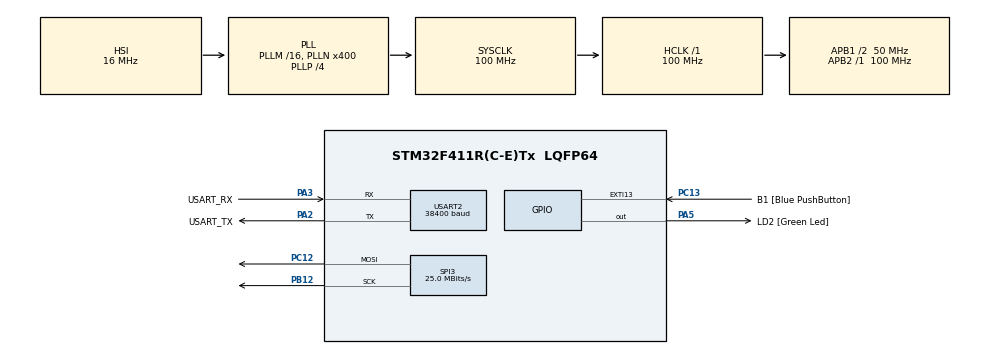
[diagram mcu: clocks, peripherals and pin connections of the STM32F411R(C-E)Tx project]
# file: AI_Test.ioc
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Mcu.Family=STM32F4
Mcu.Name=STM32F411R(C-E)Tx
Mcu.Package=LQFP64
NVIC.PriorityGroup=NVIC_PRIORITYGROUP_0
NVIC.USART2_IRQn=true\:0\:0\:false\:false\:true\:true
PA13.GPIO_Label=TMS
PA13.Mode=Serial_Wire
PA13.Signal=SYS_JTMS-SWDIO
PA14.GPIO_Label=TCK
PA14.Mode=Serial_Wire
PA14.Signal=SYS_JTCK-SWCLK
PA2.GPIO_Label=USART_TX
PA2.Mode=Asynchronous
PA2.Signal=USART2_TX
PA3.GPIO_Label=USART_RX
PA3.Mode=Asynchronous
PA3.Signal=USART2_RX
PA5.GPIO_Label=LD2 [Green Led]
PA5.Signal=GPIO_Output
PB12.Mode=TX_Only_Simplex_Unidirect_Master
PB12.Signal=SPI3_SCK
PB3.GPIO_Label=SWO
PB3.Signal=SYS_JTDO-SWO
PC12.Mode=TX_Only_Simplex_Unidirect_Master
PC12.Signal=SPI3_MOSI
PC13-ANTI_TAMP.GPIO_Label=B1 [Blue PushButton]
PC13-ANTI_TAMP.GPIO_ModeDefaultEXTI=GPIO_MODE_IT_FALLING
PC13-ANTI_TAMP.Signal=GPXTI13
PC14-OSC32_IN.Mode=LSE-External-Oscillator
PC14-OSC32_IN.Signal=RCC_OSC32_IN
PC15-OSC32_OUT.Mode=LSE-External-Oscillator
PC15-OSC32_OUT.Signal=RCC_OSC32_OUT
PH0\ -\ OSC_IN.Mode=HSE-External-Clock-Source
PH0\ -\ OSC_IN.Signal=RCC_OSC_IN
PH1\ -\ OSC_OUT.Mode=HSE-External-Clock-Source
PH1\ -\ OSC_OUT.Signal=RCC_OSC_OUT
ProjectManager.HeapSize=0x200
ProjectManager.StackSize=0x400
ProjectManager.TargetToolchain=SW4STM32
RCC.48MHZClocksFreq_Value=100000000
RCC.AHBFreq_Value=100000000
RCC.APB1CLKDivider=RCC_HCLK_DIV2
RCC.APB1Freq_Value=50000000
RCC.APB1TimFreq_Value=100000000
RCC.APB2Freq_Value=100000000
RCC.APB2TimFreq_Value=100000000
RCC.CortexFreq_Value=100000000
RCC.FLatency-AdvancedSettings=FLASH_LATENCY_3
RCC.HCLKFreq_Value=100000000
RCC.HSE_VALUE=8000000
RCC.HSI_VALUE=16000000
RCC.PLLN=400
RCC.PLLP=RCC_PLLP_DIV4
RCC.SYSCLKFreq_VALUE=100000000
RCC.SYSCLKSource=RCC_SYSCLKSOURCE_PLLCLK
RCC.VCOOutputFreq_Value=400000000
SPI3.CalculateBaudRate=25.0 MBits/s
SPI3.Direction=SPI_DIRECTION_2LINES
SPI3.Mode=SPI_MODE_MASTER
SPI3.VirtualType=VM_MASTER
USART2.BaudRate=38400
USART2.VirtualMode=VM_ASYNC
board=NUCLEO-F411RE

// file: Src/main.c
/* USER CODE BEGIN Header */
/*   MIT License
*
*    Copyright (c) 2019 Timothy Pansino, Adam Behnke, Zachary Neumann, Mitchell Keeney
*
*    Permission is hereby granted, free of charge, to any person obtaining a copy
*    of this software and associated documentation files (the "Software"), to deal
*    in the Software without restriction, including without limitation the rights
*    to use, copy, modify, merge, publish, distribute, sublicense, and/or sell
*    copies of the Software, and to permit persons to whom the Software is
*    furnished to do so, subject to the following conditions:
*
*    The above copyright notice and this permission notice shall be included in all
*    copies or substantial portions of the Software.
*
*    THE SOFTWARE IS PROVIDED "AS IS", WITHOUT WARRANTY OF ANY KIND, EXPRESS OR
*    IMPLIED, INCLUDING BUT NOT LIMITED TO THE WARRANTIES OF MERCHANTABILITY,
*    FITNESS FOR A PARTICULAR PURPOSE AND NONINFRINGEMENT. IN NO EVENT SHALL THE
*    AUTHORS OR COPYRIGHT HOLDERS BE LIABLE FOR ANY CLAIM, DAMAGES OR OTHER
*    LIABILITY, WHETHER IN AN ACTION OF CONTRACT, TORT OR OTHERWISE, ARISING FROM,
*    OUT OF OR IN CONNECTION WITH THE SOFTWARE OR THE USE OR OTHER DEALINGS IN THE
*    SOFTWARE.
*/
/**
  ******************************************************************************
  * @file           : main.c
  * @brief          : Main program body
  ******************************************************************************
  ** This notice applies to any and all portions of this file
  * that are not between comment pairs USER CODE BEGIN and
  * USER CODE END. Other portions of this file, whether
  * inserted by the user or by software development tools
  * are owned by their respective copyright owners.
  *
  * COPYRIGHT(c) 2019 STMicroelectronics
  *
  * Redistribution and use in source and binary forms, with or without modification,
  * are permitted provided that the following conditions are met:
  *   1. Redistributions of source code must retain the above copyright notice,
  *      this list of conditions and the following disclaimer.
  *   2. Redistributions in binary form must reproduce the above copyright notice,
  *      this list of conditions and the following disclaimer in the documentation
  *      and/or other materials provided with the distribution.
  *   3. Neither the name of STMicroelectronics nor the names of its contributors
  *      may be used to endorse or promote products derived from this software
  *      without specific prior written permission.
  *
  * THIS SOFTWARE IS PROVIDED BY THE COPYRIGHT HOLDERS AND CONTRIBUTORS "AS IS"
  * AND ANY EXPRESS OR IMPLIED WARRANTIES, INCLUDING, BUT NOT LIMITED TO, THE
  * IMPLIED WARRANTIES OF MERCHANTABILITY AND FITNESS FOR A PARTICULAR PURPOSE ARE
  * DISCLAIMED. IN NO EVENT SHALL THE COPYRIGHT HOLDER OR CONTRIBUTORS BE LIABLE
  * FOR ANY DIRECT, INDIRECT, INCIDENTAL, SPECIAL, EXEMPLARY, OR CONSEQUENTIAL
  * DAMAGES (INCLUDING, BUT NOT LIMITED TO, PROCUREMENT OF SUBSTITUTE GOODS OR
  * SERVICES; LOSS OF USE, DATA, OR PROFITS; OR BUSINESS INTERRUPTION) HOWEVER
  * CAUSED AND ON ANY THEORY OF LIABILITY, WHETHER IN CONTRACT, STRICT LIABILITY,
  * OR TORT (INCLUDING NEGLIGENCE OR OTHERWISE) ARISING IN ANY WAY OUT OF THE USE
  * OF THIS SOFTWARE, EVEN IF ADVISED OF THE POSSIBILITY OF SUCH DAMAGE.
  *
  ******************************************************************************
  */
/* USER CODE END Header */

#include "main.h"

/* USER CODE BEGIN Includes */
#include <string.h>
#include "ai.h"
#include "drivers.h"
#include "defs.h"
#include "protos.h"
#include "data.h"

/* USER CODE END Includes */

SPI_HandleTypeDef hspi3;

UART_HandleTypeDef huart2;

/* USER CODE BEGIN PV */
char receiveBuffer[100];
char transmitBuffer[100];
char s[100];

int newlineStr = NEWLINE_STR;
int backSpace = BACKSPACE_STR;

/* Used to store data received from the UART */
uint8_t receivedData = 0;

/* Current Location in receiveBuffer */
int currentLocation = 0;

/* Flag signaling completed reception of line of text */
int dataReceivedFlag = 0;
/* USER CODE END PV */

void SystemClock_Config(void);
static void MX_GPIO_Init(void);
static void MX_USART2_UART_Init(void);
static void MX_SPI3_Init(void);
/* USER CODE BEGIN PFP */
//static void write_LCD_msg(char lcd_upr[], char lcd_low[]);
//static void write_LCD_instr(uint8_t * instru);
void HAL_UART_RxCpltCallback(UART_HandleTypeDef * huart);
char * receiveString(void);
void transmitString(char *);
/* USER CODE END PFP */

int main(void)
{

  /* MCU Configuration--------------------------------------------------------*/

  /* Reset of all peripherals, Initializes the Flash interface and the Systick. */
  HAL_Init();

  /* Configure the system clock */
  SystemClock_Config();

  /* Initialize all configured peripherals */
  MX_GPIO_Init();
  MX_USART2_UART_Init();
  MX_SPI3_Init();
  /* USER CODE BEGIN 2 */
  char send_xboard_msg[16];

  Print(CLEAR_TERMINAL);
  Print("UART Init\n");

  aiInit(LIGHT);

  /* USER CODE END 2 */

  /* Infinite loop */
  /* USER CODE BEGIN WHILE */
  while (1)
  {
	  s[0] = '\0';
	  aiMakeMove(s);
	  if (strlen(s) > 0) {
		  Print("AI Move: %s\n", s);
	  }

      Print(">");
      Scan(send_xboard_msg);
      HAL_GPIO_TogglePin (LD2_GPIO_Port, LD2_Pin);
      aiParseCommand(send_xboard_msg);
  }
    /* USER CODE END WHILE */

}

void SystemClock_Config(void)
{
  RCC_OscInitTypeDef RCC_OscInitStruct = {0};
  RCC_ClkInitTypeDef RCC_ClkInitStruct = {0};

  /**Configure the main internal regulator output voltage
  */
  __HAL_RCC_PWR_CLK_ENABLE();
  __HAL_PWR_VOLTAGESCALING_CONFIG(PWR_REGULATOR_VOLTAGE_SCALE1);
  /**Initializes the CPU, AHB and APB busses clocks
  */
  RCC_OscInitStruct.OscillatorType = RCC_OSCILLATORTYPE_HSI;
  RCC_OscInitStruct.HSIState = RCC_HSI_ON;
  RCC_OscInitStruct.HSICalibrationValue = RCC_HSICALIBRATION_DEFAULT;
  RCC_OscInitStruct.PLL.PLLState = RCC_PLL_ON;
  RCC_OscInitStruct.PLL.PLLSource = RCC_PLLSOURCE_HSI;
  RCC_OscInitStruct.PLL.PLLM = 16;
  RCC_OscInitStruct.PLL.PLLN = 400;
  RCC_OscInitStruct.PLL.PLLP = RCC_PLLP_DIV4;
  RCC_OscInitStruct.PLL.PLLQ = 4;
  if (HAL_RCC_OscConfig(&RCC_OscInitStruct) != HAL_OK)
  {
    Error_Handler();
  }
  /**Initializes the CPU, AHB and APB busses clocks
  */
  RCC_ClkInitStruct.ClockType = RCC_CLOCKTYPE_HCLK|RCC_CLOCKTYPE_SYSCLK
                              |RCC_CLOCKTYPE_PCLK1|RCC_CLOCKTYPE_PCLK2;
  RCC_ClkInitStruct.SYSCLKSource = RCC_SYSCLKSOURCE_PLLCLK;
  RCC_ClkInitStruct.AHBCLKDivider = RCC_SYSCLK_DIV1;
  RCC_ClkInitStruct.APB1CLKDivider = RCC_HCLK_DIV2;
  RCC_ClkInitStruct.APB2CLKDivider = RCC_HCLK_DIV1;

  if (HAL_RCC_ClockConfig(&RCC_ClkInitStruct, FLASH_LATENCY_3) != HAL_OK)
  {
    Error_Handler();
  }
}

static void MX_SPI3_Init(void)
{

  /* SPI3 parameter configuration*/
  hspi3.Instance = SPI3;
  hspi3.Init.Mode = SPI_MODE_MASTER;
  hspi3.Init.Direction = SPI_DIRECTION_2LINES;
  hspi3.Init.DataSize = SPI_DATASIZE_8BIT;
  hspi3.Init.CLKPolarity = SPI_POLARITY_LOW;
  hspi3.Init.CLKPhase = SPI_PHASE_1EDGE;
  hspi3.Init.NSS = SPI_NSS_SOFT;
  hspi3.Init.BaudRatePrescaler = SPI_BAUDRATEPRESCALER_2;
  hspi3.Init.FirstBit = SPI_FIRSTBIT_MSB;
  hspi3.Init.TIMode = SPI_TIMODE_DISABLE;
  hspi3.Init.CRCCalculation = SPI_CRCCALCULATION_DISABLE;
  hspi3.Init.CRCPolynomial = 10;
  if (HAL_SPI_Init(&hspi3) != HAL_OK)
  {
    Error_Handler();
  }

}

static void MX_USART2_UART_Init(void)
{

  huart2.Instance = USART2;
  huart2.Init.BaudRate = 38400;
  huart2.Init.WordLength = UART_WORDLENGTH_8B;
  huart2.Init.StopBits = UART_STOPBITS_1;
  huart2.Init.Parity = UART_PARITY_NONE;
  huart2.Init.Mode = UART_MODE_TX_RX;
  huart2.Init.HwFlowCtl = UART_HWCONTROL_NONE;
  huart2.Init.OverSampling = UART_OVERSAMPLING_16;
  if (HAL_UART_Init(&huart2) != HAL_OK)
  {
    Error_Handler();
  }

}

static void MX_GPIO_Init(void)
{
  GPIO_InitTypeDef GPIO_InitStruct = {0};

  /* GPIO Ports Clock Enable */
  __HAL_RCC_GPIOC_CLK_ENABLE();
  __HAL_RCC_GPIOH_CLK_ENABLE();
  __HAL_RCC_GPIOA_CLK_ENABLE();
  __HAL_RCC_GPIOB_CLK_ENABLE();

  /*Configure GPIO pin Output Level */
  HAL_GPIO_WritePin(LD2_GPIO_Port, LD2_Pin, GPIO_PIN_RESET);

  /*Configure GPIO pin : B1_Pin */
  GPIO_InitStruct.Pin = B1_Pin;
  GPIO_InitStruct.Mode = GPIO_MODE_IT_FALLING;
  GPIO_InitStruct.Pull = GPIO_NOPULL;
  HAL_GPIO_Init(B1_GPIO_Port, &GPIO_InitStruct);

  /*Configure GPIO pin : LD2_Pin */
  GPIO_InitStruct.Pin = LD2_Pin;
  GPIO_InitStruct.Mode = GPIO_MODE_OUTPUT_PP;
  GPIO_InitStruct.Pull = GPIO_NOPULL;
  GPIO_InitStruct.Speed = GPIO_SPEED_FREQ_LOW;
  HAL_GPIO_Init(LD2_GPIO_Port, &GPIO_InitStruct);

}

/* USER CODE BEGIN 4 */

/*
static void write_LCD_msg(char lcd_upr[], char lcd_low[])
{
    uint8_t loc_instru = CURMOV;
    write_LCD_instr(&loc_instru);
    loc_instru = LINE1;
    write_LCD_instr(&loc_instru);
    HAL_GPIO_WritePin (GPIOC, rs_Pin, GPIO_PIN_SET);

    uint8_t x = lcd_upr[0];
    int count = 0;
    while(x != '\0')
    {
        HAL_SPI_Transmit (&hspi3, (uint8_t) &lcd_upr[count], 1, TIMEOUT);
        while(HAL_SPI_GetState(&hspi3) != HAL_SPI_STATE_READY)
            ;
        HAL_GPIO_WritePin (GPIOC, lcd_en_Pin, GPIO_PIN_SET);
        HAL_Delay(1);
        HAL_GPIO_WritePin (GPIOC, lcd_en_Pin, GPIO_PIN_RESET);
        count++;
        x = lcd_upr[count];
    }
    loc_instru = CURMOV;
    write_LCD_instr(&loc_instru);
    loc_instru = LINE2;
    write_LCD_instr(&loc_instru);
    HAL_GPIO_WritePin (GPIOC, rs_Pin, GPIO_PIN_SET);

    x = lcd_low[0];
    count = 0;
    while(x != '\0')
    {
        HAL_SPI_Transmit (&hspi3, (uint8_t) &lcd_upr[count], 1, TIMEOUT);
        while(HAL_SPI_GetState(&hspi3) != HAL_SPI_STATE_READY)
            ;
        HAL_GPIO_WritePin (GPIOC, lcd_en_Pin, GPIO_PIN_RESET);
        HAL_GPIO_WritePin (GPIOC, lcd_en_Pin, GPIO_PIN_SET);
        HAL_Delay(1);
        HAL_GPIO_WritePin (GPIOC, lcd_en_Pin, GPIO_PIN_RESET);
        count++;
        x = lcd_low[count];
    }
}

static void write_LCD_instr(uint8_t * instru)
{
    HAL_GPIO_WritePin (GPIOC, rs_Pin, GPIO_PIN_RESET);
    HAL_SPI_Transmit (&hspi3, instru, 1, TIMEOUT);
    while(HAL_SPI_GetState(&hspi3) != HAL_SPI_STATE_READY)
        ;
    HAL_GPIO_WritePin (GPIOC, lcd_en_Pin, GPIO_PIN_RESET);
    HAL_GPIO_WritePin (GPIOC, lcd_en_Pin, GPIO_PIN_SET);
    HAL_Delay(1);
    HAL_GPIO_WritePin (GPIOC, lcd_en_Pin, GPIO_PIN_RESET);
}
*/

void HAL_UART_RxCpltCallback(UART_HandleTypeDef * huart)
{
    /* Move data into buffer */
    receiveBuffer[currentLocation] = receivedData;

    /* Variable to keep track of location in buffer */
    if (((char)receiveBuffer[currentLocation] == '\n') || ((char)receiveBuffer[currentLocation] == '\r')) {
        HAL_UART_Transmit(&huart2, (uint8_t*) newlineStr, 2, TIMEOUT);
        dataReceivedFlag = 1;
        receiveBuffer[currentLocation] = '\0';
        currentLocation = 0;
    }
    else if (((char)receiveBuffer[currentLocation] == 0x08) || ((char)receiveBuffer[currentLocation] == 0x7F)) {
    	if (currentLocation > 0) {
        	Print(backSpace);
        	receiveBuffer[currentLocation] = '\0';
    		currentLocation--;
    	}
    }
    else {
        HAL_UART_Transmit(&huart2, &receivedData, 1, TIMEOUT);
        currentLocation++;
    }
}

char * receiveString(void) {
    /* Listen for input; print back to screen when fully received */
    while (!dataReceivedFlag) {
        HAL_UART_Receive_IT(&huart2, &receivedData, 1);
    }
    dataReceivedFlag = 0;
    return receiveBuffer;
}

void transmitString(char * s) {
	//int size = 0;
	int i;

	//while(s[size] != '\0') size++;
	for (i = 0; s[i] != '\0'; i++) {
		if (s[i] == '\n') {
			HAL_UART_Transmit(&huart2, (uint8_t*) newlineStr, 2, TIMEOUT);
		}
		else if (s[i] != '\r' && s[i] != '\0') {
			HAL_UART_Transmit(&huart2, (uint8_t*) &s[i], 1, TIMEOUT);
		}
	}
	//HAL_UART_Transmit_IT(&huart2, (uint8_t *) s, size);

	return;
}

void Print(const char* format, ...) {
  va_list args;
  va_start(args, format);
  vsprintf(transmitBuffer, format, args);
  transmitString(transmitBuffer);
  va_end(args);

  return;
}

void Scan(char* s) {
	receiveString();
	strcpy(s, receiveBuffer);

	return;
}
/* move_str returns a string with move m in coordinate notation */

/* USER CODE END 4 */

void Error_Handler(void)
{
}

/************************ (C) COPYRIGHT STMicroelectronics *****END OF FILE****/
